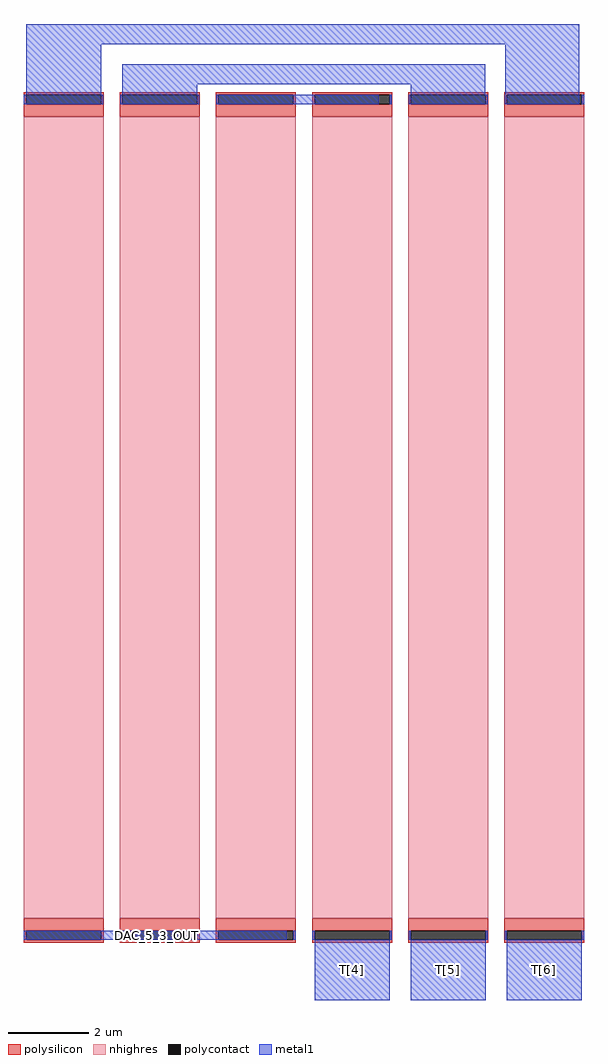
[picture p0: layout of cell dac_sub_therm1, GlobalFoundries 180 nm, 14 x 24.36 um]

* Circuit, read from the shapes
.subckt dac_sub_therm1 T[4] T[5] T[6] DAC_5_3_OUT
XR1 n1 DAC_5_3_OUT VSUBS ppolyf_u_1k r_width=2u r_length=20u
XR2 n2 DAC_5_3_OUT VSUBS ppolyf_u_1k r_width=2u r_length=20u
XR3 n3 DAC_5_3_OUT VSUBS ppolyf_u_1k r_width=2u r_length=20u
XR4 n3 T[4] VSUBS ppolyf_u_1k r_width=2u r_length=20u
XR5 n2 T[5] VSUBS ppolyf_u_1k r_width=2u r_length=20u
XR6 n1 T[6] VSUBS ppolyf_u_1k r_width=2u r_length=20u
.ends

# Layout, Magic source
magic
tech gf180mcuD
magscale 1 10
<< metal1 >>
rect 189 4661 2950 4761
rect 189 4361 563 4661
rect 669 4461 2480 4561
rect 669 4361 1043 4461
rect 1149 4361 1949 4407
rect 2110 4360 2480 4461
rect 2580 4360 2950 4661
rect 189 189 1489 235
rect 1629 -111 2003 189
rect 2109 -111 2483 189
rect 2589 -111 2963 189
use ppolyf_u_1k_9VZ9QZ  ppolyf_u_1k_9VZ9QZ_0
transform 1 0 1576 0 1 2298
box -1400 -2122 1400 2122
<< labels >>
flabel metal1 1629 -111 2003 189 0 FreeSans 1600 0 0 0 T[4]
port 0 nsew
flabel metal1 2109 -111 2483 189 0 FreeSans 1600 0 0 0 T[5]
port 1 nsew
flabel metal1 2589 -111 2963 189 0 FreeSans 1600 0 0 0 T[6]
port 2 nsew
flabel metal1 189 189 1489 235 0 FreeSans 800 0 0 0 DAC_5_3_OUT
port 3 nsew
<< end >>

# cell ppolyf_u_1k_9VZ9QZ: kit device ppolyf_u_1k, w 2 l 20 m 1 nx 6 wmin 1.000 lmin 1.000 class resistor rho 1000 val 10.0k dummy 0 dw 0.0 term 0.0 sterm 0.0 caplen 0.4 snake 0 glc 0 grc 0 gtc 0 gbc 0 roverlap 0 endcov 100 full_metal 0 compatible {ppolyf_u_1k ppolyf_u_1k_6p0}
